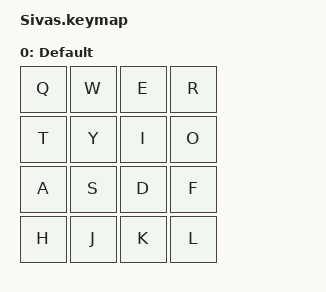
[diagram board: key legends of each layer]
/*
 * Copyright (c) 2020 The ZMK Contributors
 *
 * SPDX-License-Identifier: MIT
 */

#include <behaviors.dtsi>
#include <dt-bindings/zmk/keys.h>

/ {
        keymap {
                compatible = "zmk,keymap";

                default_layer {
                        display-name = "Default";

                        bindings = <
                                &kp Q &kp W &kp E &kp R
                                &kp T &kp Y &kp I &kp O
                                &kp A &kp S &kp D &kp F
                                &kp H &kp J &kp K &kp L
                        >;
                };
        };
};

